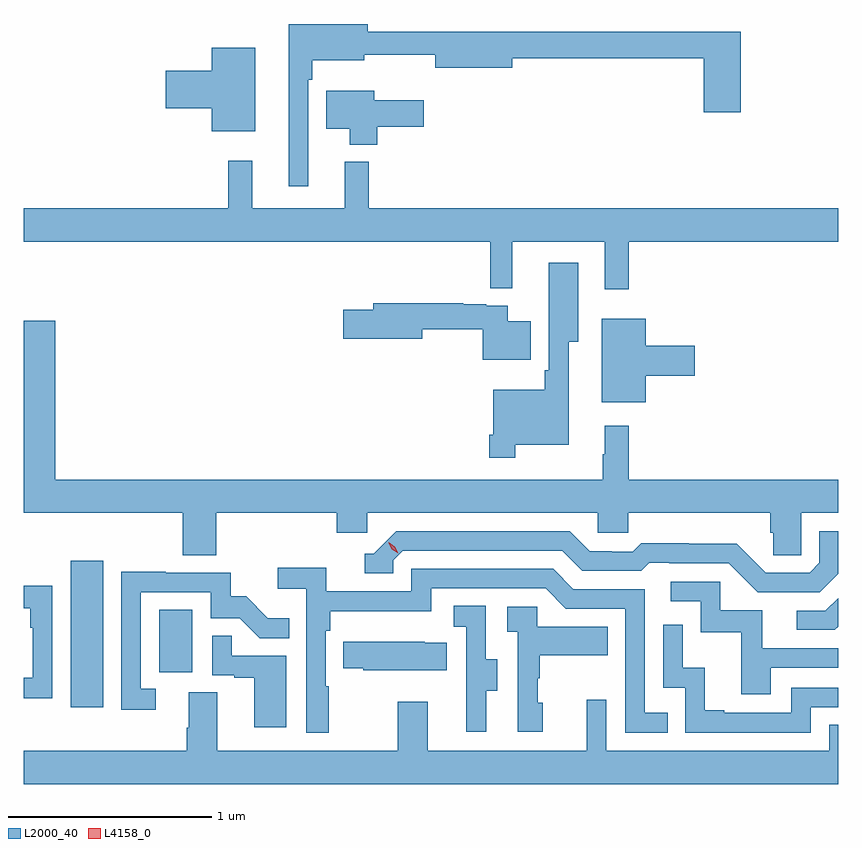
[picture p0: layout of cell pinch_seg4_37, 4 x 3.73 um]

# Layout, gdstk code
import gdstk
lib = gdstk.Library(unit=1e-6, precision=1e-09)
def R(c, l, rs):  # rectangles x0, y0, x1, y1
    for r in rs: c.add(gdstk.rectangle(r[:2], r[2:], *l))
def P(c, l, *ps):  # polygons
    for p in ps: c.add(gdstk.Polygon(p, *l))
L2000_40 = (2000, 40)
L4158_0 = (4158, 0)

pinch_seg4_37 = lib.new_cell('pinch_seg4_37')
R(pinch_seg4_37, L2000_40, [(1125.701,819.84,1125.862,820.561), (1126.136,820.014,1126.3,820.321), (1126.477,823.197,1126.594,823.198)])
P(pinch_seg4_37, L2000_40, [(1126.869,822.923),(1126.889,822.923),(1126.889,823.019),(1127.143,823.019),(1127.143,823.048),(1127.492,823.048),(1127.492,822.983),(1127.872,822.983),(1127.872,823.03),(1128.812,823.03),(1128.812,822.765),(1128.995,822.765),(1128.995,823.159),(1127.162,823.159),(1127.162,823.198),(1126.772,823.198),(1126.772,822.402),(1126.869,822.402)],
  [(1126.609,823.081),(1126.394,823.081),(1126.394,822.968),(1126.17,822.968),(1126.17,822.785),(1126.394,822.785),(1126.394,822.671),(1126.609,822.671)],
  [(1127.207,822.694),(1127.437,822.694),(1127.437,822.823),(1127.194,822.823),(1127.194,822.871),(1126.958,822.871),(1126.958,822.683),(1127.072,822.683),(1127.072,822.605),(1127.207,822.605)],
  [(1128.443,822.128),(1129.472,822.128),(1129.472,822.292),(1127.165,822.292),(1127.165,822.52),(1127.048,822.52),(1127.048,822.292),(1126.595,822.292),(1126.595,822.526),(1126.477,822.526),(1126.477,822.292),(1125.472,822.292),(1125.472,822.128),(1127.764,822.128),(1127.764,821.899),(1127.872,821.899),(1127.872,822.128),(1128.326,822.128),(1128.326,821.895),(1128.443,821.895)],
  [(1127.887,821.132),(1128.148,821.132),(1128.148,821.636),(1128.196,821.636),(1128.196,822.025),(1128.05,822.025),(1128.05,821.497),(1128.031,821.497),(1128.031,821.401),(1127.778,821.401),(1127.778,821.179),(1127.758,821.179),(1127.758,821.067),(1127.887,821.067)],
  [(1127.962,821.737),(1127.848,821.737),(1127.848,821.814),(1127.744,821.814),(1127.744,821.82),(1127.63,821.82),(1127.63,821.827),(1127.189,821.827),(1127.189,821.793),(1127.04,821.793),(1127.04,821.651),(1127.428,821.651),(1127.428,821.698),(1127.726,821.698),(1127.726,821.549),(1127.962,821.549)],
  [(1128.526,821.471),(1128.769,821.471),(1128.769,821.618),(1128.526,821.618),(1128.526,821.749),(1128.311,821.749),(1128.311,821.339),(1128.526,821.339)],
  [(1128.441,820.796),(1129.139,820.796),(1129.139,820.698),(1129.153,820.698),(1129.153,820.588),(1129.29,820.588),(1129.29,820.796),(1129.472,820.796),(1129.472,820.96),(1128.443,820.96),(1128.443,821.224),(1128.326,821.224),(1128.326,821.084),(1128.315,821.084),(1128.315,820.96),(1125.626,820.96),(1125.626,821.74),(1125.472,821.74),(1125.472,820.796),(1126.253,820.796),(1126.253,820.588),(1126.418,820.588),(1126.418,820.796),(1127.009,820.796),(1127.009,820.698),(1127.16,820.698),(1127.16,820.796),(1128.291,820.796),(1128.291,820.698),(1128.441,820.698)],
  [(1129.472,820.496),(1129.472,820.707),(1129.38,820.707),(1129.38,820.551),(1129.332,820.503),(1129.116,820.503),(1128.974,820.645),(1128.738,820.645),(1128.738,820.648),(1128.505,820.648),(1128.463,820.605),(1128.36,820.605),(1128.36,820.608),(1128.253,820.608),(1128.154,820.707),(1127.301,820.707),(1127.19,820.596),(1127.147,820.596),(1127.147,820.5),(1127.286,820.5),(1127.286,820.563),(1127.334,820.611),(1128.117,820.611),(1128.216,820.512),(1128.505,820.512),(1128.544,820.551),(1128.643,820.551),(1128.643,820.548),(1128.936,820.548),(1129.077,820.407),(1129.383,820.407)],
  [(1126.969,819.944),(1126.956,819.944),(1126.956,820.217),(1126.976,820.217),(1126.976,820.313),(1127.472,820.313),(1127.472,820.425),(1128.036,820.425),(1128.135,820.326),(1128.426,820.326),(1128.426,819.717),(1128.635,819.717),(1128.635,819.813),(1128.522,819.813),(1128.522,820.422),(1128.172,820.422),(1128.073,820.521),(1127.376,820.521),(1127.376,820.41),(1126.958,820.41),(1126.958,820.526),(1126.719,820.526),(1126.719,820.424),(1126.86,820.424),(1126.86,819.717),(1126.969,819.717)],
  [(1126.12,819.933),(1126.047,819.933),(1126.047,820.407),(1126.389,820.407),(1126.389,820.278),(1126.533,820.278),(1126.631,820.18),(1126.775,820.18),(1126.775,820.279),(1126.671,820.279),(1126.564,820.386),(1126.488,820.386),(1126.488,820.503),(1126.169,820.503),(1126.169,820.508),(1125.951,820.508),(1125.951,819.828),(1126.12,819.828)],
  [(1129.141,820.035),(1129.472,820.035),(1129.472,820.131),(1129.099,820.131),(1129.099,820.317),(1128.894,820.317),(1128.894,820.458),(1128.651,820.458),(1128.651,820.362),(1128.798,820.362),(1128.798,820.209),(1128.997,820.209),(1128.997,819.906),(1129.141,819.906)],
  [(1125.612,820.438),(1125.472,820.438),(1125.472,820.328),(1125.503,820.328),(1125.503,820.232),(1125.516,820.232),(1125.516,819.987),(1125.472,819.987),(1125.472,819.886),(1125.612,819.886)],
  [(1129.472,820.237),(1129.472,820.376),(1129.41,820.314),(1129.269,820.314),(1129.269,820.221),(1129.456,820.221)],
  [(1127.743,819.922),(1127.797,819.922),(1127.797,820.077),(1127.742,820.077),(1127.742,820.34),(1127.583,820.34),(1127.583,820.237),(1127.646,820.237),(1127.646,819.933),(1127.645,819.933),(1127.645,819.72),(1127.743,819.72)],
  [(1128.022,819.864),(1127.997,819.864),(1127.997,819.983),(1128.007,819.983),(1128.007,820.097),(1128.341,820.097),(1128.341,820.237),(1127.994,820.237),(1127.994,820.335),(1127.847,820.335),(1127.847,820.211),(1127.898,820.211),(1127.898,819.72),(1128.022,819.72)],
  [(1129.338,819.84),(1129.472,819.84),(1129.472,819.936),(1129.242,819.936),(1129.242,819.813),(1128.913,819.813),(1128.913,819.826),(1128.818,819.826),(1128.818,820.034),(1128.708,820.034),(1128.708,820.246),(1128.612,820.246),(1128.612,819.936),(1128.72,819.936),(1128.72,819.717),(1129.338,819.717)],
  [(1126.762,820.095),(1126.493,820.095),(1126.493,820.193),(1126.398,820.193),(1126.398,819.999),(1126.505,819.999),(1126.505,819.987),(1126.604,819.987),(1126.604,819.744),(1126.762,819.744)],
  [(1127.549,820.159),(1127.441,820.159),(1127.441,820.162),(1127.041,820.162),(1127.041,820.033),(1127.139,820.033),(1127.139,820.022),(1127.549,820.022)],
  [(1129.472,819.755),(1129.428,819.755),(1129.428,819.628),(1128.333,819.628),(1128.333,819.877),(1128.236,819.877),(1128.236,819.628),(1127.455,819.628),(1127.455,819.868),(1127.308,819.868),(1127.308,819.628),(1126.423,819.628),(1126.423,819.914),(1126.283,819.914),(1126.283,819.74),(1126.271,819.74),(1126.271,819.628),(1125.472,819.628),(1125.472,819.464),(1129.472,819.464)])
P(pinch_seg4_37, L4158_0, [(1127.31,820.597),(1127.28,820.618),(1127.265,820.65),(1127.265,820.651),(1127.265,820.651),(1127.295,820.63),(1127.31,820.598),(1127.31,820.597)])

lib.write_gds('pinch_seg4_37.gds')
